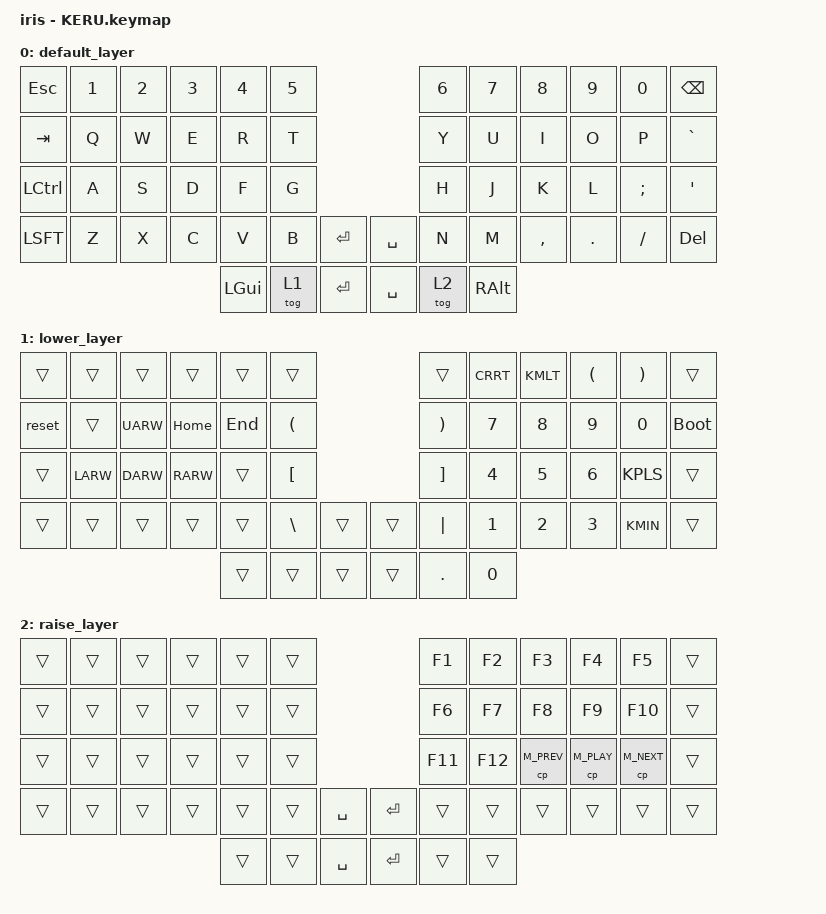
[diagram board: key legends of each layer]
#include <behaviors.dtsi>
#include <dt-bindings/zmk/keys.h>


/ {
	keymap {
		compatible = "zmk,keymap";

		default_layer {
// ------------------------------------------------------------------------------------------------------------
// |  ESC  |  1  |  2  |  3   |  4   |  5   |                   |  6   |  7    |  8    |  9   |   0   |  BKSP |
// |  TAB  |  Q  |  W  |  E   |  R   |  T   |                   |  Y   |  U    |  I    |  O   |   P   |   `   |
// |  CTRL |  A  |  S  |  D   |  F   |  G   |                   |  H   |  J    |  K    |  L   |   ;   |   '   |
// | SHIFT |  Z  |  X  |  C   |  V   |  B   |  ENTER |  | SPACE |  N   |  M    |  ,    |  .   |   /   | DEL |
//                     		  | GUI  | TOG1 |  ENTER |  | SPACE | TOG2 |  ALT  |
			bindings = <
&kp ESC  &kp NUM_1 &kp NUM_2 &kp NUM_3 &kp NUM_4 &kp NUM_5                  &kp NUM_6 &kp NUM_7 &kp NUM_8 &kp NUM_9 &kp NUM_0 &kp BKSP
&kp TAB  &kp Q     &kp W     &kp E     &kp R     &kp T                      &kp Y     &kp U     &kp I     &kp O     &kp P     &kp GRAV
&kp LCTL &kp A     &kp S     &kp D     &kp F     &kp G                      &kp H     &kp J     &kp K     &kp L     &kp SCLN  &kp QUOT
&kp LSFT &kp Z     &kp X     &kp C     &kp V     &kp B   &kp RET   &kp SPC  &kp N     &kp M     &kp CMMA  &kp DOT   &kp FSLH  &kp DEL
                   			 		   &kp LGUI  &tog 1  &kp RET   &kp SPC  &tog 2    &kp RALT
			>;
		};

		lower_layer {
// ------------------------------------------------------------------------------------------------------------
// |       |     |     |      |      |      |                   |      |   ^   |   *   |  (   |   )   |       |
// | RESET |     | UP  | HOME | END  |  (   |                   |  )   |   7   |   8   |  9   |   0   | BOOT  |
// |       | LEFT| DOWN| RIGHT| PGUP |  [   |                   |  ]   |   4   |   5   |  6   |   +   |       |
// |       |     |     |      | PGDN |  \   |       |   |       |  "|" |   1   |   2   |  3   |   -   |       |
//                            |      |      |       |   |       |  .   |   0   |
			bindings = <
&trans   &trans    &trans    &trans    &trans     &trans                      &trans    &kp CRRT  &kp KMLT  &kp LPRN  &kp RPRN  &trans
&reset   &trans    &kp UARW  &kp HOME  &kp END    &kp LPRN                    &kp RPRN  &kp NUM_7 &kp NUM_8 &kp NUM_9 &kp NUM_0 &bootloader
&trans   &kp LARW  &kp DARW  &kp RARW  &trans	  &kp LBKT                    &kp RBKT  &kp NUM_4 &kp NUM_5 &kp NUM_6 &kp KPLS  &trans
&trans   &trans    &trans    &trans    &trans     &kp BSLH  &trans   &trans   &kp PIPE  &kp NUM_1 &kp NUM_2 &kp NUM_3 &kp KMIN  &trans
                   		     		   &trans     &trans    &trans   &trans   &kp DOT   &kp NUM_0
			>;
		};

		raise_layer {
// ------------------------------------------------------------------------------------------------------------
// |       |     |     |      |      |      |                   |  F1  |  F2   |  F3   |  F4  |  F5   |       |
// |       |     |     |      |      |      |                   |  F6  |  F7   |  F8   |  F9  |  F10  |       |
// |       |     |     |      |      |      |                   |  F11 |  F12  |  MPRV | MPLY |  MNXT |       |
// |       |     |     |      |      |      | SPACE |   | ENTER |      |       |       |      |       |       |
//                            |      |      | SPACE |   | ENTER |      |       |
			bindings = <
&trans     &trans     &trans     &trans     &trans    &trans                     &kp F1    &kp F2     &kp F3     &kp F4     &kp F5     &trans
&trans     &trans     &trans     &trans     &trans    &trans                     &kp F6    &kp F7     &kp F8     &kp F9     &kp F10    &trans
&trans     &trans     &trans     &trans     &trans    &trans                     &kp F11   &kp F12    &cp M_PREV &cp M_PLAY &cp M_NEXT &trans
&trans     &trans     &trans     &trans     &trans    &trans  &kp SPC  &kp RET   &trans    &trans     &trans     &trans     &trans     &trans
                   		     		        &trans    &trans  &kp SPC  &kp RET   &trans    &trans
			>;
		};
	};
};
